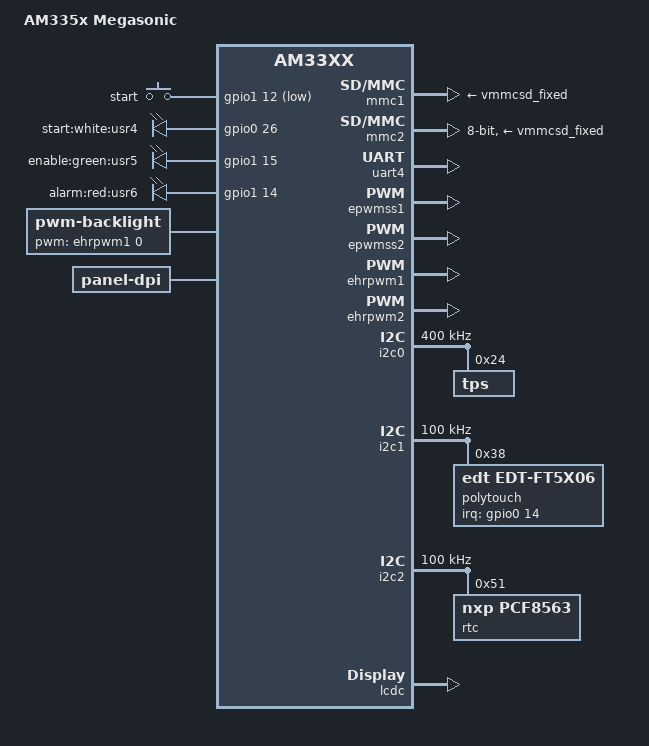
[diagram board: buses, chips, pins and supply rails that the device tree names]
// SPDX-License-Identifier: GPL-2.0-only
/*
 * Copyright (C) 2022 Embetrix - https://Embetrix.com
 */
/dts-v1/;

#include "am33xx.dtsi"
#include "am335x-bone-common.dtsi"
#include "am335x-boneblack-common.dtsi"

#include <dt-bindings/gpio/gpio.h>
#include <dt-bindings/pwm/pwm.h>
#include <dt-bindings/interrupt-controller/irq.h>

/ {
	model = "AM335x Megasonic";
	compatible = "ti,am335x-megasonic", "ti,am33xx";

	gpio_keys {
		compatible = "gpio-keys";
		pinctrl-names = "default";
		pinctrl-0 = <&btn_pins>;

		button@1 {
			debounce-interval = <50>;
			linux,code = <31>;
			label = "start";
			gpios = <&gpio1 12 GPIO_ACTIVE_LOW>;
			gpio-key,wakeup;
			autorepeat;
		};
	};

	leds {
		compatible = "gpio-leds";
		pinctrl-names = "default";
		pinctrl-0 = <&user_leds_s1>;

		start_led: led@0 {
			label = "start:white:usr4";
			gpios = <&gpio0 26 GPIO_ACTIVE_HIGH>;
			default-state = "on";
		};

		enable_led: led@1 {
			label = "enable:green:usr5";
			gpios = <&gpio1 15 GPIO_ACTIVE_HIGH>;
			default-state = "on";
		};

		alarm_led: led@2 {
			label = "alarm:red:usr6";
			gpios = <&gpio1 14 GPIO_ACTIVE_HIGH>;
			default-state = "on";
		};
	};

	backlight: backlight {
		compatible = "pwm-backlight";
		pwms = <&ehrpwm1 0 500000 PWM_POLARITY_INVERTED>;
		brightness-levels = <0 10 20 30 40 50 60 70 80 90 100>;
		default-brightness-level = <8>; // corresponds to 80
		status = "okay";
	};

	panel: panel@0 {
		compatible = "panel-dpi";
		pinctrl-names = "default";
		pinctrl-0 = <&lcd_24bit_pins>;
		status = "okay";

		display-timings {
			native-mode = <&timing0>;

			timing0: timing0 {
				clock-frequency = <30000000>;
				hactive = <800>;
				vactive = <480>;
				hfront-porch = <40>;
				hback-porch = <40>;
				hsync-len = <48>;
				vback-porch = <30>;
				vfront-porch = <13>;
				vsync-len = <3>;
				hsync-active = <0>;
				vsync-active = <0>;
				de-active = <1>;
				pixelclk-active = <0>;
			};
		};
	};
};

&am33xx_pinmux {

	megasonic_i2c2_pins: pinmux_i2c2_pins {
		pinctrl-single,pins = <
			0x150 0x73	/* uart1_ctsn.i2c2_sda */
			0x154 0x73	/* uart1_rtsn.i2c2_scl */
		>;
	};

	uart4_pins: pinmux_uart4_pins {
		pinctrl-single,pins = <
			0x070 0x27	/* gpmc_wait0.uart4_rxd_mux2 */
			0x074 0x27	/* gpmc_wpn.uart4_txd_mux2  */
		>;
	};

	lcd_24bit_pins: pinmux_lcd_24bit_pins {
		pinctrl-single,pins = <
			0x0A0 0x00 /* lcd_data0 */
			0x0A4 0x00 /* lcd_data1 */
			0x0A8 0x00 /* lcd_data2 */
			0x0AC 0x00 /* lcd_data3 */
			0x0B0 0x00 /* lcd_data4 */
			0x0B4 0x00 /* lcd_data5 */
			0x0B8 0x00 /* lcd_data6 */
			0x0BC 0x00 /* lcd_data7 */
			0x0C0 0x00 /* lcd_data8 */
			0x0C4 0x00 /* lcd_data9 */
			0x0C8 0x00 /* lcd_data10 */
			0x0CC 0x00 /* lcd_data11 */
			0x0D0 0x00 /* lcd_data12 */
			0x0D4 0x00 /* lcd_data13 */
			0x0D8 0x00 /* lcd_data14 */
			0x0DC 0x00 /* lcd_data15 */
			0x0E0 0x00 /* lcd_vsync */
			0x0E4 0x00 /* lcd_hsync */
			0x0E8 0x00 /* lcd_pclk */
			0x0EC 0x00 /* lcd_ac_bias_en */
			0x1A4 0x17 /* mcasp0_fsr.gpio3_19 LCD DISEN */
		>;
	};

	bb_lcd_pwm_backlight_pins: pinmux_bb_lcd_pwm_backlight_pins {
		pinctrl-single,pins = <
			0x048 0x06	/* gpmc_a2.ehrpwm1a */
		>;
	};

	bb_buzzer_pwm_pins: pinmux_bb_buzzer_pwm_pins {
		pinctrl-single,pins = <
			0x034 0x04	/* gpmc_ad9.ehrpwm2B */
		>;
	};

	bb_i2c1_pins: pinmux_bb_i2c1_pins {
		pinctrl-single,pins = <
			0x158 0x72	/* spi0_d1.i2c1_sda */
			0x15C 0x72	/* spi0_cs0.i2c1_scl */
		>;
	};

	edt_ft5x06_pins: pinmux_edt_ft5x06_pins {
		pinctrl-single,pins = <
			0x180 0x37	/* INPUT_PULLUP | MODE7 */
		>;
	};

	btn_pins: pinmux_btn_pins {
		pinctrl-single,pins = <
			0x030 0x2f	/* gpio1_12 */
		>;
	};

	user_leds_s1: pinmux_user_leds_s1 {
		pinctrl-single,pins = <
			0x028 0x07	/* gpio0_26 */
			0x03C 0x07	/* gpio1_15 */
			0x038 0x07	/* gpio1_14 */
		>;
	};
};

&mmc1 {
	vmmc-supply = <&vmmcsd_fixed>;
};

&mmc2 {
	vmmc-supply = <&vmmcsd_fixed>;
	pinctrl-names = "default";
	pinctrl-0 = <&emmc_pins>;
	bus-width = <8>;
	status = "okay";
};

&uart4 {
	pinctrl-names = "default";
	pinctrl-0 = <&uart4_pins>;
	status = "okay";
	symlink = "bone/uart/4";
};

&epwmss1 {
	status = "okay";
};

&epwmss2 {
	status = "okay";
};

&ehrpwm1 {
	pinctrl-names = "default";
	pinctrl-0 = <&bb_lcd_pwm_backlight_pins>;
	status = "okay";
};

&ehrpwm2 {
	pinctrl-names = "default";
	pinctrl-0 = <&bb_buzzer_pwm_pins>;
	status = "okay";
};

&i2c0 {
	status = "okay";
	pinctrl-names = "default";
	pinctrl-0 = <&i2c0_pins>;

	clock-frequency = <400000>;

	tps: tps@24 {
		reg = <0x24>;
	};
};

&i2c1 {
	status = "okay";
	pinctrl-names = "default";
	pinctrl-0 = <&bb_i2c1_pins>;

	// configuration start
	clock-frequency = <100000>;

	#address-cells = <1>;
	#size-cells = <0>;

	polytouch: touchscreen@38 {
		compatible = "edt,edt-ft5x06";
		reg = <0x38>;
		pinctrl-names = "default";
		pinctrl-0 = <&edt_ft5x06_pins>;
		interrupt-parent = <&gpio0>;
		interrupts = <14 IRQ_TYPE_EDGE_FALLING>;

		touchscreen-size-y = <800>;
		touchscreen-size-x = <480>;

		touchscreen-swapped-x-y;
		touchscreen-inverted-x;
	};

};

&i2c2 {
	pinctrl-names = "default";
	pinctrl-0 = <&megasonic_i2c2_pins>;

	status = "okay";
	clock-frequency = <100000>;

	rtc@51 {
		compatible = "nxp,pcf8563";
		reg = <0x51>;
	};

};

&lcdc {
	status = "okay";
};
